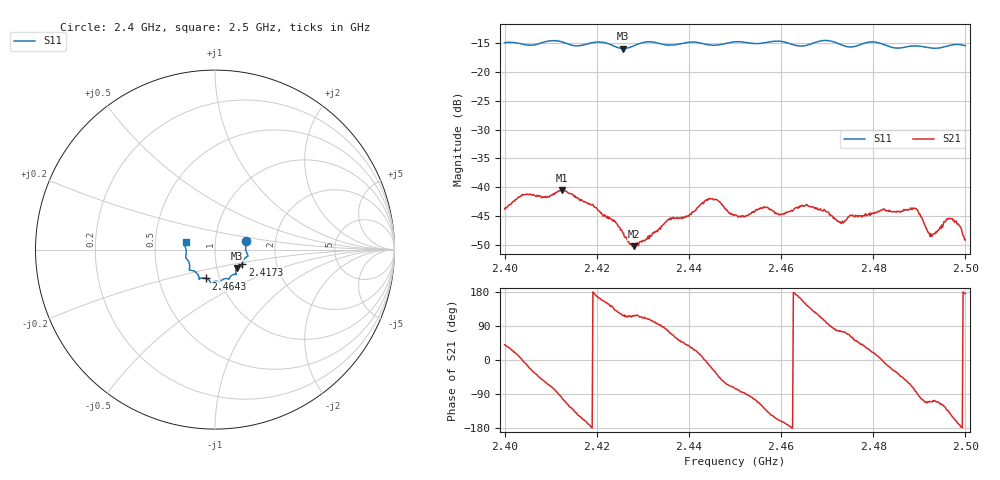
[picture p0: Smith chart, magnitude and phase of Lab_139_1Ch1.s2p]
# Hz S RI R 50
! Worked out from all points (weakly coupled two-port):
!   601 points, 2.4 GHz to 2.5 GHz, reference 50 ohm
!   highest |S21| = -40.46 dB at 2.4125 GHz (marker M1); lowest = -50.2 dB at 2.428 GHz (marker M2)
!   lowest |S11| = -15.9 dB at 2.4257 GHz (marker M3), VSWR 1.38, Z = 62.5 - j13.1 ohm
!   |S11| at or under -10 dB: start of sweep to end of sweep
!   S12 and S22 are empty: the file has one direction only
!   S11 on the Smith chart (normalised r, x): 2.4 GHz: 1.41, +0.14; 2.4173 GHz: 1.34, -0.23; 2.4643 GHz: 0.86, -0.28; 2.5 GHz: 0.72, +0.06
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2.4e9  0.1731 0.0486  0.00494 0.00414  0 0  0 0
2.404167e9  0.172 0.0238  0.00859 -0.000803  0 0  0 0
2.409167e9  0.1822 -0.0297  0.00386 -0.00717  0 0  0 0
2.4125e9  0.1778 -0.0391  -0.00187 -0.0093  0 0  0 0
2.416667e9  0.1528 -0.075  -0.00695 -0.00362  0 0  0 0
2.417333e9  0.1517 -0.0825  -0.00704 -0.00265  0 0  0 0
2.423667e9  0.1397 -0.0942  -0.00379 0.00359  0 0  0 0
2.425667e9  0.123 -0.1019  -0.00181 0.00355  0 0  0 0
2.428e9  0.1149 -0.1234  -0.00138 0.00276  0 0  0 0
2.433333e9  0.113 -0.1375  -0.000369 0.00427  0 0  0 0
2.444667e9  0.0583 -0.1612  0.00759 -0.00231  0 0  0 0
2.45e9  0.0289 -0.1808  0.00145 -0.00556  0 0  0 0
2.4565e9  -0.0103 -0.1793  -0.00433 -0.00517  0 0  0 0
2.460167e9  -0.0248 -0.1823  -0.00557 -0.00168  0 0  0 0
2.464333e9  -0.0502 -0.1605  -0.0065 0.0023  0 0  0 0
2.466667e9  -0.076 -0.1588  -0.00458 0.00494  0 0  0 0
2.473167e9  -0.092 -0.1453  0.00127 0.00474  0 0  0 0
2.483333e9  -0.1411 -0.0898  0.0059 -0.0018  0 0  0 0
2.489167e9  -0.1625 -0.0443  0.000848 -0.00649  0 0  0 0
2.492667e9  -0.1604 -0.018  -0.00128 -0.00351  0 0  0 0
2.497e9  -0.1695 0.0269  -0.00448 -0.00291  0 0  0 0
2.5e9  -0.1639 0.0425  -0.00348 0.000278  0 0  0 0
